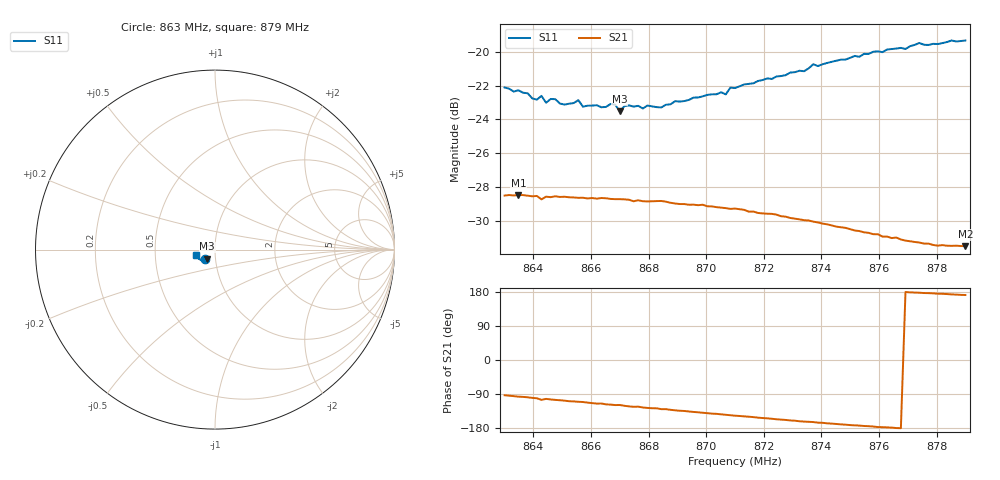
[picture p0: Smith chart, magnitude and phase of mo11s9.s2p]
# HZ S RI R 50
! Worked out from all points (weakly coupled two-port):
!   101 points, 863 MHz to 879 MHz, reference 50 ohm
!   highest |S21| = -28.48 dB at 863.48 MHz (marker M1); lowest = -31.5 dB at 879 MHz (marker M2)
!   lowest |S11| = -23.5 dB at 867 MHz (marker M3), VSWR 1.14, Z = 45.6 - j4.57 ohm
!   |S11| at or under -10 dB: start of sweep to end of sweep
!   S12 and S22 are empty: the file has one direction only
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8.63e8  -0.058 -0.0527  -0.00198 -0.0375  0 0  0 0
8.6348e8  -0.0563 -0.0524  -0.00438 -0.0374  0 0  0 0
8.6412e8  -0.0523 -0.0497  -0.00709 -0.0367  0 0  0 0
8.6428e8  -0.0523 -0.0524  -0.00958 -0.0353  0 0  0 0
8.6444e8  -0.0512 -0.0487  -0.00813 -0.0363  0 0  0 0
8.646e8  -0.0518 -0.0506  -0.00904 -0.036  0 0  0 0
8.6508e8  -0.0485 -0.0501  -0.0111 -0.0355  0 0  0 0
8.6556e8  -0.0518 -0.0499  -0.0128 -0.0347  0 0  0 0
8.6572e8  -0.0462 -0.0509  -0.0132 -0.0345  0 0  0 0
8.6668e8  -0.0481 -0.0509  -0.017 -0.0325  0 0  0 0
8.67e8  -0.0442 -0.05  -0.0176 -0.0321  0 0  0 0
8.6732e8  -0.0469 -0.0511  -0.0195 -0.0308  0 0  0 0
8.6844e8  -0.0442 -0.0522  -0.0231 -0.0278  0 0  0 0
8.6892e8  -0.0458 -0.0548  -0.0241 -0.0261  0 0  0 0
8.7068e8  -0.047 -0.0582  -0.0281 -0.0199  0 0  0 0
8.7084e8  -0.0505 -0.0598  -0.0283 -0.0193  0 0  0 0
8.71e8  -0.05 -0.0599  -0.0288 -0.0187  0 0  0 0
8.734e8  -0.0627 -0.0612  -0.0302 -0.00954  0 0  0 0
8.7372e8  -0.0663 -0.0635  -0.0302 -0.00878  0 0  0 0
8.7644e8  -0.0872 -0.0526  -0.0281 -0.000771  0 0  0 0
8.774e8  -0.0954 -0.0465  -0.0272 0.00116  0 0  0 0
8.79e8  -0.1035 -0.0308  -0.0263 0.00393  0 0  0 0
